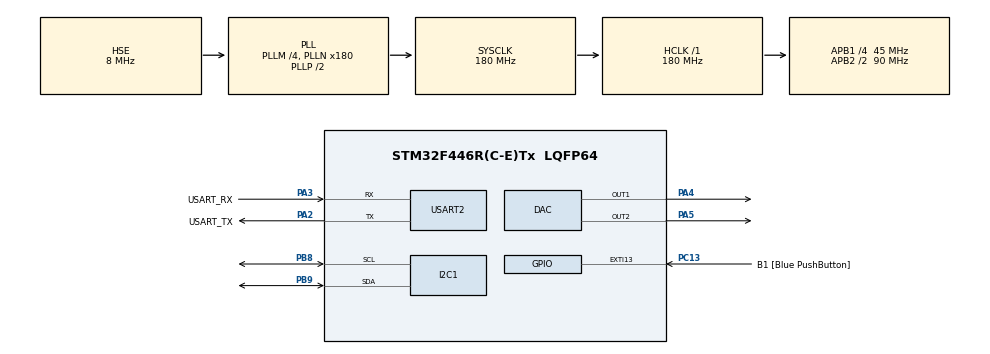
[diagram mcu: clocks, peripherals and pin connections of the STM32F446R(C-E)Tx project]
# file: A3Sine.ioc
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DAC.DAC_Trigger=DAC_TRIGGER_T7_TRGO
DAC.DAC_Trigger2=DAC_TRIGGER_T6_TRGO
Dma.DAC1.1.Direction=DMA_MEMORY_TO_PERIPH
Dma.DAC1.1.FIFOMode=DMA_FIFOMODE_DISABLE
Dma.DAC1.1.Instance=DMA1_Stream5
Dma.DAC1.1.MemDataAlignment=DMA_MDATAALIGN_HALFWORD
Dma.DAC1.1.MemInc=DMA_MINC_ENABLE
Dma.DAC1.1.Mode=DMA_CIRCULAR
Dma.DAC1.1.PeriphDataAlignment=DMA_PDATAALIGN_HALFWORD
Dma.DAC1.1.PeriphInc=DMA_PINC_DISABLE
Dma.DAC1.1.Priority=DMA_PRIORITY_LOW
Dma.DAC2.0.Direction=DMA_MEMORY_TO_PERIPH
Dma.DAC2.0.FIFOMode=DMA_FIFOMODE_DISABLE
Dma.DAC2.0.Instance=DMA1_Stream6
Dma.DAC2.0.MemDataAlignment=DMA_MDATAALIGN_HALFWORD
Dma.DAC2.0.MemInc=DMA_MINC_ENABLE
Dma.DAC2.0.Mode=DMA_CIRCULAR
Dma.DAC2.0.PeriphDataAlignment=DMA_PDATAALIGN_HALFWORD
Dma.DAC2.0.PeriphInc=DMA_PINC_DISABLE
Dma.DAC2.0.Priority=DMA_PRIORITY_LOW
Dma.I2C1_TX.2.Direction=DMA_MEMORY_TO_PERIPH
Dma.I2C1_TX.2.FIFOMode=DMA_FIFOMODE_ENABLE
Dma.I2C1_TX.2.FIFOThreshold=DMA_FIFO_THRESHOLD_FULL
Dma.I2C1_TX.2.Instance=DMA1_Stream7
Dma.I2C1_TX.2.MemBurst=DMA_MBURST_SINGLE
Dma.I2C1_TX.2.MemDataAlignment=DMA_MDATAALIGN_BYTE
Dma.I2C1_TX.2.MemInc=DMA_MINC_ENABLE
Dma.I2C1_TX.2.Mode=DMA_NORMAL
Dma.I2C1_TX.2.PeriphBurst=DMA_PBURST_SINGLE
Dma.I2C1_TX.2.PeriphDataAlignment=DMA_PDATAALIGN_BYTE
Dma.I2C1_TX.2.PeriphInc=DMA_PINC_DISABLE
Dma.I2C1_TX.2.Priority=DMA_PRIORITY_LOW
Dma.Request0=DAC2
Dma.Request1=DAC1
Dma.Request2=I2C1_TX
I2C1.I2C_Mode=I2C_Standard
Mcu.Family=STM32F4
Mcu.Name=STM32F446R(C-E)Tx
Mcu.Package=LQFP64
NVIC.DMA1_Stream5_IRQn=true\:0\:0\:false\:false\:true\:false\:true\:true
NVIC.DMA1_Stream6_IRQn=true\:0\:0\:false\:false\:true\:false\:true\:true
NVIC.DMA1_Stream7_IRQn=true\:0\:0\:false\:false\:true\:false\:true\:true
NVIC.I2C1_EV_IRQn=true\:0\:0\:false\:false\:true\:true\:true\:true
NVIC.PriorityGroup=NVIC_PRIORITYGROUP_0
PA13.GPIO_Label=TMS
PA13.Mode=Trace_Asynchronous_SW
PA13.Signal=SYS_JTMS-SWDIO
PA14.GPIO_Label=TCK
PA14.Mode=Trace_Asynchronous_SW
PA14.Signal=SYS_JTCK-SWCLK
PA2.GPIO_Label=USART_TX
PA2.Mode=Asynchronous
PA2.Signal=USART2_TX
PA3.GPIO_Label=USART_RX
PA3.Mode=Asynchronous
PA3.Signal=USART2_RX
PA4.Signal=COMP_DAC1_group
PA5.Signal=COMP_DAC2_group
PB3.GPIO_Label=SWO
PB3.Mode=Trace_Asynchronous_SW
PB3.Signal=SYS_JTDO-SWO
PB8.GPIO_Pu=GPIO_PULLUP
PB8.Mode=I2C
PB8.Signal=I2C1_SCL
PB9.GPIO_Pu=GPIO_PULLUP
PB9.Mode=I2C
PB9.Signal=I2C1_SDA
PC13.GPIO_Label=B1 [Blue PushButton]
PC13.GPIO_ModeDefaultEXTI=GPIO_MODE_IT_FALLING
PC13.Signal=GPXTI13
PC14-OSC32_IN.Mode=LSE-External-Oscillator
PC14-OSC32_IN.Signal=RCC_OSC32_IN
PC15-OSC32_OUT.Mode=LSE-External-Oscillator
PC15-OSC32_OUT.Signal=RCC_OSC32_OUT
PH0-OSC_IN.Mode=HSE-External-Oscillator
PH0-OSC_IN.Signal=RCC_OSC_IN
PH1-OSC_OUT.Mode=HSE-External-Oscillator
PH1-OSC_OUT.Signal=RCC_OSC_OUT
ProjectManager.HeapSize=0x200
ProjectManager.StackSize=0x400
ProjectManager.TargetToolchain=Makefile
RCC.48MHZClocksFreq_Value=84000000
RCC.AHBFreq_Value=180000000
RCC.APB1CLKDivider=RCC_HCLK_DIV4
RCC.APB1Freq_Value=45000000
RCC.APB1TimFreq_Value=90000000
RCC.APB2CLKDivider=RCC_HCLK_DIV2
RCC.APB2Freq_Value=90000000
RCC.APB2TimFreq_Value=180000000
RCC.CortexFreq_Value=180000000
RCC.FLatency-AdvancedSettings=FLASH_LATENCY_5
RCC.HCLKFreq_Value=180000000
RCC.HSE_VALUE=8000000
RCC.HSI_VALUE=16000000
RCC.PLLM=4
RCC.PLLN=180
RCC.PLLSourceVirtual=RCC_PLLSOURCE_HSE
RCC.SYSCLKFreq_VALUE=180000000
RCC.SYSCLKSource=RCC_SYSCLKSOURCE_PLLCLK
RCC.USBFreq_Value=180000000
RCC.VCOOutputFreq_Value=360000000
SH.COMP_DAC1_group.0=DAC_OUT1,DAC_OUT1
SH.COMP_DAC2_group.0=DAC_OUT2,DAC_OUT2
TIM6.AutoReloadPreload=TIM_AUTORELOAD_PRELOAD_ENABLE
TIM6.Period=25000
TIM6.Prescaler=89
TIM6.TIM_MasterOutputTrigger=TIM_TRGO_UPDATE
TIM7.AutoReloadPreload=TIM_AUTORELOAD_PRELOAD_ENABLE
TIM7.Period=49
TIM7.Prescaler=8
TIM7.TIM_MasterOutputTrigger=TIM_TRGO_UPDATE
USART2.VirtualMode=VM_ASYNC
VP_TIM6_VS_ClockSourceINT.Mode=Enable_Timer
VP_TIM7_VS_ClockSourceINT.Mode=Enable_Timer
board=NUCLEO-F446RE

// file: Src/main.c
/* USER CODE BEGIN Header */
/**
 ******************************************************************************
 * @file           : main.c
 * @brief          : Main program body
 ******************************************************************************
 * @attention
 *
 * Copyright (c) 2022 STMicroelectronics.
 * All rights reserved.
 *
 * This software is licensed under terms that can be found in the LICENSE file
 * in the root directory of this software component.
 * If no LICENSE file comes with this software, it is provided AS-IS.
 *
 ******************************************************************************
 */
/* USER CODE END Header */
#include "main.h"

/* USER CODE BEGIN Includes */
#include <stdio.h>
#include <string.h>
#include <math.h>
/* USER CODE END Includes */

/* USER CODE BEGIN PM */
// how many steps are divided in a sine wave period
#define SINE_STEPS 200
#define PI 3.1415927f
/* USER CODE END PM */

DAC_HandleTypeDef hdac;
DMA_HandleTypeDef hdma_dac2;
DMA_HandleTypeDef hdma_dac1;

I2C_HandleTypeDef hi2c1;
DMA_HandleTypeDef hdma_i2c1_tx;

TIM_HandleTypeDef htim6;
TIM_HandleTypeDef htim7;

UART_HandleTypeDef huart2;

void SystemClock_Config(void);
static void MX_GPIO_Init(void);
static void MX_DMA_Init(void);
static void MX_DAC_Init(void);
static void MX_TIM6_Init(void);
static void MX_USART2_UART_Init(void);
static void MX_TIM7_Init(void);
static void MX_I2C1_Init(void);

int main(void)
{

    /* MCU Configuration--------------------------------------------------------*/

    /* Reset of all peripherals, Initializes the Flash interface and the Systick. */
    HAL_Init();

    /* Configure the system clock */
    SystemClock_Config();

    /* Initialize all configured peripherals */
    MX_GPIO_Init();
    MX_DMA_Init();
    MX_DAC_Init();
    MX_TIM6_Init();
    MX_USART2_UART_Init();
    MX_TIM7_Init();
    MX_I2C1_Init();
    /* USER CODE BEGIN 2 */
    char buf[64] = "A3Sine: Nucleo-F446RE starting...\r\n";
    HAL_UART_Transmit(&huart2, (uint8_t *)buf, strlen(buf), HAL_MAX_DELAY);

    HAL_I2C_Master_Transmit_DMA(&hi2c1, (ESP32S3_I2C_ADDR)<<1, (uint8_t *)buf, strlen(buf)-2);
    // while(HAL_DMA_GetState(&hdma_i2c1_tx) == HAL_DMA_STATE_BUSY);

    uint16_t bufSine[SINE_STEPS], value;
    for (uint16_t i = 0; i < SINE_STEPS; i++)
    {
        value = (uint16_t)rintf((sinf(2.0f * PI * i / SINE_STEPS) * 0.8f + 1.0f) * 2048.0f);
        bufSine[i] = value < 4096 ? value : 4095;
    }

    HAL_TIM_Base_Start(&htim6);
    HAL_TIM_Base_Start(&htim7);
    HAL_DAC_Start_DMA(&hdac, DAC_CHANNEL_2, (uint32_t *)bufSine, SINE_STEPS, DAC_ALIGN_12B_R);
    HAL_DAC_Start_DMA(&hdac, DAC_CHANNEL_1, (uint32_t *)bufSine, SINE_STEPS, DAC_ALIGN_12B_R);
    /* USER CODE END 2 */

    /* Infinite loop */
    while (1)
    {

        /* USER CODE BEGIN 3 */
        HAL_SuspendTick();
        HAL_PWR_EnterSLEEPMode(PWR_MAINREGULATOR_ON, PWR_SLEEPENTRY_WFI);
        HAL_ResumeTick();
    }
    /* USER CODE END 3 */
}

void SystemClock_Config(void)
{
    RCC_OscInitTypeDef RCC_OscInitStruct = {0};
    RCC_ClkInitTypeDef RCC_ClkInitStruct = {0};

    /** Configure the main internal regulator output voltage
     */
    __HAL_RCC_PWR_CLK_ENABLE();
    __HAL_PWR_VOLTAGESCALING_CONFIG(PWR_REGULATOR_VOLTAGE_SCALE1);

    /** Initializes the RCC Oscillators according to the specified parameters
     * in the RCC_OscInitTypeDef structure.
     */
    RCC_OscInitStruct.OscillatorType = RCC_OSCILLATORTYPE_HSE;
    RCC_OscInitStruct.HSEState = RCC_HSE_ON;
    RCC_OscInitStruct.PLL.PLLState = RCC_PLL_ON;
    RCC_OscInitStruct.PLL.PLLSource = RCC_PLLSOURCE_HSE;
    RCC_OscInitStruct.PLL.PLLM = 4;
    RCC_OscInitStruct.PLL.PLLN = 180;
    RCC_OscInitStruct.PLL.PLLP = RCC_PLLP_DIV2;
    RCC_OscInitStruct.PLL.PLLQ = 2;
    RCC_OscInitStruct.PLL.PLLR = 2;
    if (HAL_RCC_OscConfig(&RCC_OscInitStruct) != HAL_OK)
    {
        Error_Handler();
    }

    /** Activate the Over-Drive mode
     */
    if (HAL_PWREx_EnableOverDrive() != HAL_OK)
    {
        Error_Handler();
    }

    /** Initializes the CPU, AHB and APB buses clocks
     */
    RCC_ClkInitStruct.ClockType = RCC_CLOCKTYPE_HCLK | RCC_CLOCKTYPE_SYSCLK | RCC_CLOCKTYPE_PCLK1 | RCC_CLOCKTYPE_PCLK2;
    RCC_ClkInitStruct.SYSCLKSource = RCC_SYSCLKSOURCE_PLLCLK;
    RCC_ClkInitStruct.AHBCLKDivider = RCC_SYSCLK_DIV1;
    RCC_ClkInitStruct.APB1CLKDivider = RCC_HCLK_DIV4;
    RCC_ClkInitStruct.APB2CLKDivider = RCC_HCLK_DIV2;

    if (HAL_RCC_ClockConfig(&RCC_ClkInitStruct, FLASH_LATENCY_5) != HAL_OK)
    {
        Error_Handler();
    }
}

static void MX_DAC_Init(void)
{

    DAC_ChannelConfTypeDef sConfig = {0};

    /** DAC Initialization
     */
    hdac.Instance = DAC;
    if (HAL_DAC_Init(&hdac) != HAL_OK)
    {
        Error_Handler();
    }

    /** DAC channel OUT1 config
     */
    sConfig.DAC_Trigger = DAC_TRIGGER_T7_TRGO;
    sConfig.DAC_OutputBuffer = DAC_OUTPUTBUFFER_ENABLE;
    if (HAL_DAC_ConfigChannel(&hdac, &sConfig, DAC_CHANNEL_1) != HAL_OK)
    {
        Error_Handler();
    }

    /** DAC channel OUT2 config
     */
    sConfig.DAC_Trigger = DAC_TRIGGER_T6_TRGO;
    if (HAL_DAC_ConfigChannel(&hdac, &sConfig, DAC_CHANNEL_2) != HAL_OK)
    {
        Error_Handler();
    }
}

static void MX_I2C1_Init(void)
{

    hi2c1.Instance = I2C1;
    hi2c1.Init.ClockSpeed = 100000;
    hi2c1.Init.DutyCycle = I2C_DUTYCYCLE_2;
    hi2c1.Init.OwnAddress1 = 0;
    hi2c1.Init.AddressingMode = I2C_ADDRESSINGMODE_7BIT;
    hi2c1.Init.DualAddressMode = I2C_DUALADDRESS_DISABLE;
    hi2c1.Init.OwnAddress2 = 0;
    hi2c1.Init.GeneralCallMode = I2C_GENERALCALL_DISABLE;
    hi2c1.Init.NoStretchMode = I2C_NOSTRETCH_DISABLE;
    if (HAL_I2C_Init(&hi2c1) != HAL_OK)
    {
        Error_Handler();
    }
}

static void MX_TIM6_Init(void)
{

    TIM_MasterConfigTypeDef sMasterConfig = {0};

    htim6.Instance = TIM6;
    htim6.Init.Prescaler = 89;
    htim6.Init.CounterMode = TIM_COUNTERMODE_UP;
    htim6.Init.Period = 25000;
    htim6.Init.AutoReloadPreload = TIM_AUTORELOAD_PRELOAD_ENABLE;
    if (HAL_TIM_Base_Init(&htim6) != HAL_OK)
    {
        Error_Handler();
    }
    sMasterConfig.MasterOutputTrigger = TIM_TRGO_UPDATE;
    sMasterConfig.MasterSlaveMode = TIM_MASTERSLAVEMODE_DISABLE;
    if (HAL_TIMEx_MasterConfigSynchronization(&htim6, &sMasterConfig) != HAL_OK)
    {
        Error_Handler();
    }
}

static void MX_TIM7_Init(void)
{

    TIM_MasterConfigTypeDef sMasterConfig = {0};

    htim7.Instance = TIM7;
    htim7.Init.Prescaler = 8;
    htim7.Init.CounterMode = TIM_COUNTERMODE_UP;
    htim7.Init.Period = 49;
    htim7.Init.AutoReloadPreload = TIM_AUTORELOAD_PRELOAD_ENABLE;
    if (HAL_TIM_Base_Init(&htim7) != HAL_OK)
    {
        Error_Handler();
    }
    sMasterConfig.MasterOutputTrigger = TIM_TRGO_UPDATE;
    sMasterConfig.MasterSlaveMode = TIM_MASTERSLAVEMODE_DISABLE;
    if (HAL_TIMEx_MasterConfigSynchronization(&htim7, &sMasterConfig) != HAL_OK)
    {
        Error_Handler();
    }
}

static void MX_USART2_UART_Init(void)
{

    huart2.Instance = USART2;
    huart2.Init.BaudRate = 115200;
    huart2.Init.WordLength = UART_WORDLENGTH_8B;
    huart2.Init.StopBits = UART_STOPBITS_1;
    huart2.Init.Parity = UART_PARITY_NONE;
    huart2.Init.Mode = UART_MODE_TX_RX;
    huart2.Init.HwFlowCtl = UART_HWCONTROL_NONE;
    huart2.Init.OverSampling = UART_OVERSAMPLING_16;
    if (HAL_UART_Init(&huart2) != HAL_OK)
    {
        Error_Handler();
    }
}

static void MX_DMA_Init(void)
{

    /* DMA controller clock enable */
    __HAL_RCC_DMA1_CLK_ENABLE();

    /* DMA interrupt init */
    /* DMA1_Stream5_IRQn interrupt configuration */
    HAL_NVIC_SetPriority(DMA1_Stream5_IRQn, 0, 0);
    HAL_NVIC_EnableIRQ(DMA1_Stream5_IRQn);
    /* DMA1_Stream6_IRQn interrupt configuration */
    HAL_NVIC_SetPriority(DMA1_Stream6_IRQn, 0, 0);
    HAL_NVIC_EnableIRQ(DMA1_Stream6_IRQn);
    /* DMA1_Stream7_IRQn interrupt configuration */
    HAL_NVIC_SetPriority(DMA1_Stream7_IRQn, 0, 0);
    HAL_NVIC_EnableIRQ(DMA1_Stream7_IRQn);
}

static void MX_GPIO_Init(void)
{
    GPIO_InitTypeDef GPIO_InitStruct = {0};

    /* GPIO Ports Clock Enable */
    __HAL_RCC_GPIOC_CLK_ENABLE();
    __HAL_RCC_GPIOH_CLK_ENABLE();
    __HAL_RCC_GPIOA_CLK_ENABLE();
    __HAL_RCC_GPIOB_CLK_ENABLE();

    /*Configure GPIO pin : B1_Pin */
    GPIO_InitStruct.Pin = B1_Pin;
    GPIO_InitStruct.Mode = GPIO_MODE_IT_FALLING;
    GPIO_InitStruct.Pull = GPIO_NOPULL;
    HAL_GPIO_Init(B1_GPIO_Port, &GPIO_InitStruct);
}

void Error_Handler(void)
{
    __disable_irq();
    while (1)
    {
    }
}
